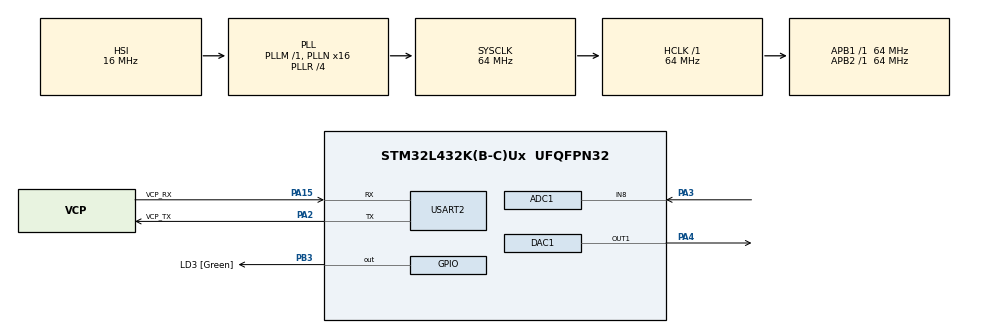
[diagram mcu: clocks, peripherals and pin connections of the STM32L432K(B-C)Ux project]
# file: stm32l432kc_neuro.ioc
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ADC1.Channel-0\#ChannelRegularConversion=ADC_CHANNEL_8
ADC1.ClockPrescaler=ADC_CLOCK_ASYNC_DIV4
ADC1.DMAContinuousRequests=ENABLE
ADC1.ExternalTrigConv=ADC_EXTERNALTRIG_T2_TRGO
ADC1.ExternalTrigConvEdge=ADC_EXTERNALTRIGCONVEDGE_RISINGFALLING
ADC1.NbrOfConversionFlag=1
ADC1.OffsetNumber-0\#ChannelRegularConversion=ADC_OFFSET_NONE
ADC1.Overrun=ADC_OVR_DATA_OVERWRITTEN
ADC1.Rank-0\#ChannelRegularConversion=1
ADC1.SamplingTime-0\#ChannelRegularConversion=ADC_SAMPLETIME_47CYCLES_5
ADC1.master=1
DAC1.DAC_Trigger-DAC_OUT1=DAC_TRIGGER_T2_TRGO
Dma.ADC1.0.Direction=DMA_PERIPH_TO_MEMORY
Dma.ADC1.0.Instance=DMA1_Channel1
Dma.ADC1.0.MemDataAlignment=DMA_MDATAALIGN_HALFWORD
Dma.ADC1.0.MemInc=DMA_MINC_ENABLE
Dma.ADC1.0.Mode=DMA_CIRCULAR
Dma.ADC1.0.PeriphDataAlignment=DMA_PDATAALIGN_HALFWORD
Dma.ADC1.0.PeriphInc=DMA_PINC_DISABLE
Dma.ADC1.0.Priority=DMA_PRIORITY_LOW
Dma.DAC_CH1.2.Direction=DMA_MEMORY_TO_PERIPH
Dma.DAC_CH1.2.Instance=DMA1_Channel3
Dma.DAC_CH1.2.MemDataAlignment=DMA_MDATAALIGN_HALFWORD
Dma.DAC_CH1.2.MemInc=DMA_MINC_ENABLE
Dma.DAC_CH1.2.Mode=DMA_CIRCULAR
Dma.DAC_CH1.2.PeriphDataAlignment=DMA_PDATAALIGN_HALFWORD
Dma.DAC_CH1.2.PeriphInc=DMA_PINC_DISABLE
Dma.DAC_CH1.2.Priority=DMA_PRIORITY_LOW
Dma.Request0=ADC1
Dma.Request1=USART2_TX
Dma.Request2=DAC_CH1
Dma.USART2_TX.1.Direction=DMA_MEMORY_TO_PERIPH
Dma.USART2_TX.1.Instance=DMA1_Channel7
Dma.USART2_TX.1.MemDataAlignment=DMA_MDATAALIGN_BYTE
Dma.USART2_TX.1.MemInc=DMA_MINC_ENABLE
Dma.USART2_TX.1.Mode=DMA_NORMAL
Dma.USART2_TX.1.PeriphDataAlignment=DMA_PDATAALIGN_BYTE
Dma.USART2_TX.1.PeriphInc=DMA_PINC_DISABLE
Dma.USART2_TX.1.Priority=DMA_PRIORITY_LOW
FREERTOS.Queues01=controllerToCom,16,float,0,Dynamic,NULL,NULL
FREERTOS.Tasks01=defaultTask,24,128,StartDefaultTask,Default,NULL,Dynamic,NULL,NULL;comTask,8,512,ComTask,As external,NULL,Dynamic,NULL,NULL;controlTask,40,128,ControlTask,As external,NULL,Dynamic,NULL,NULL
FREERTOS.configENABLE_FPU=1
FREERTOS.configTICK_RATE_HZ=250
FREERTOS.configTOTAL_HEAP_SIZE=5000
Mcu.Family=STM32L4
Mcu.Name=STM32L432K(B-C)Ux
Mcu.Package=UFQFPN32
NVIC.ADC1_IRQn=true\:5\:0\:true\:false\:true\:true\:true\:true\:true
NVIC.DMA1_Channel1_IRQn=true\:5\:0\:true\:false\:true\:true\:false\:true\:true
NVIC.DMA1_Channel3_IRQn=true\:5\:0\:false\:false\:true\:true\:false\:true\:true
NVIC.DMA1_Channel7_IRQn=true\:5\:0\:true\:false\:true\:true\:false\:true\:true
NVIC.PriorityGroup=NVIC_PRIORITYGROUP_4
NVIC.TIM2_IRQn=true\:5\:0\:true\:false\:true\:true\:true\:true\:true
NVIC.TIM7_IRQn=true\:15\:0\:false\:false\:true\:false\:false\:true\:true
NVIC.TimeBase=TIM7_IRQn
NVIC.TimeBaseIP=TIM7
NVIC.USART2_IRQn=true\:8\:0\:true\:false\:true\:true\:true\:true\:true
PA0.GPIO_Label=MCO [High speed clock in]
PA0.Mode=HSE-External-Clock-Source-for-LittleOrca
PA0.Signal=RCC_CK_IN
PA13\ (JTMS-SWDIO).GPIO_Label=SWDIO
PA13\ (JTMS-SWDIO).Mode=Serial_Wire
PA13\ (JTMS-SWDIO).Signal=SYS_JTMS-SWDIO
PA14\ (JTCK-SWCLK).GPIO_Label=SWCLK
PA14\ (JTCK-SWCLK).Mode=Serial_Wire
PA14\ (JTCK-SWCLK).Signal=SYS_JTCK-SWCLK
PA15\ (JTDI).GPIO_Label=VCP_RX
PA15\ (JTDI).Mode=Asynchronous
PA15\ (JTDI).Signal=USART2_RX
PA2.GPIO_Label=VCP_TX
PA2.Mode=Asynchronous
PA2.Signal=USART2_TX
PA3.Signal=ADCx_IN8
PA4.Signal=COMP_DAC11_group
PB3\ (JTDO-TRACESWO).GPIO_Label=LD3 [Green]
PB3\ (JTDO-TRACESWO).Signal=GPIO_Output
PC14-OSC32_IN\ (PC14).Mode=LSE-External-Oscillator
PC14-OSC32_IN\ (PC14).Signal=RCC_OSC32_IN
PC15-OSC32_OUT\ (PC15).Mode=LSE-External-Oscillator
PC15-OSC32_OUT\ (PC15).Signal=RCC_OSC32_OUT
ProjectManager.HeapSize=0x800
ProjectManager.StackSize=0x800
ProjectManager.TargetToolchain=CMake
RCC.ADCFreq_Value=64000000
RCC.AHBFreq_Value=64000000
RCC.APB1Freq_Value=64000000
RCC.APB1TimFreq_Value=64000000
RCC.APB2Freq_Value=64000000
RCC.APB2TimFreq_Value=64000000
RCC.CortexFreq_Value=64000000
RCC.HCLKFreq_Value=64000000
RCC.HSE_VALUE=8000000
RCC.HSI16_VALUE=16000000
RCC.HSI48_VALUE=48000000
RCC.HSI_VALUE=16000000
RCC.MSI_VALUE=4000000
RCC.PLLMUL=RCC_PLLMUL_4
RCC.PLLN=16
RCC.PLLR=RCC_PLLR_DIV4
RCC.PLLSAI1Q=RCC_PLLQ_DIV4
RCC.PLLSourceVirtual=RCC_PLLSOURCE_HSI
RCC.SYSCLKFreq_VALUE=64000000
RCC.SYSCLKSource=RCC_SYSCLKSOURCE_PLLCLK
RCC.USART2CLockSelection=RCC_USART2CLKSOURCE_HSI
RCC.USBFreq_Value=32000000
RCC.VCOOutputFreq_Value=256000000
SH.ADCx_IN8.0=ADC1_IN8,IN8-Single-Ended
SH.COMP_DAC11_group.0=DAC1_OUT1,DAC_OUT1
TIM2.AutoReloadPreload=TIM_AUTORELOAD_PRELOAD_ENABLE
TIM2.Period=999
TIM2.Prescaler=63
TIM2.TIM_MasterOutputTrigger=TIM_TRGO_UPDATE
USART2.VirtualMode-Asynchronous=VM_ASYNC
VP_FREERTOS_VS_CMSIS_V2.Mode=CMSIS_V2
VP_RNG_VS_RNG.Mode=RNG_Activate
VP_SYS_VS_tim7.Mode=TIM7
VP_TIM2_VS_ClockSourceINT.Mode=Internal
board=NUCLEO-L432KC

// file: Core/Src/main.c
/* USER CODE BEGIN Header */
/**
  ******************************************************************************
  * @file           : main.c
  * @brief          : Main program body
  ******************************************************************************
  * @attention
  *
  * Copyright (c) 2026 STMicroelectronics.
  * All rights reserved.
  *
  * This software is licensed under terms that can be found in the LICENSE file
  * in the root directory of this software component.
  * If no LICENSE file comes with this software, it is provided AS-IS.
  *
  ******************************************************************************
  */
/* USER CODE END Header */
#include "main.h"
#include "cmsis_os.h"

/* USER CODE BEGIN Includes */
#include "neuralController.h"
#include "queue.h"
#include "ApplicationTask.h"
#include "pt2.h"
#include "pid.h"
/* USER CODE END Includes */

/* USER CODE BEGIN PD */
#define FLT_DECIMAL_DIG 9
/* USER CODE END PD */

ADC_HandleTypeDef hadc1;
DMA_HandleTypeDef hdma_adc1;

DAC_HandleTypeDef hdac1;
DMA_HandleTypeDef hdma_dac_ch1;

RNG_HandleTypeDef hrng;

TIM_HandleTypeDef htim2;

UART_HandleTypeDef huart2;
DMA_HandleTypeDef hdma_usart2_tx;

/* Definitions for defaultTask */
osThreadId_t defaultTaskHandle;
const osThreadAttr_t defaultTask_attributes = {
  .name = "defaultTask",
  .stack_size = 128 * 4,
  .priority = (osPriority_t) osPriorityNormal,
};
/* Definitions for comTask */
osThreadId_t comTaskHandle;
const osThreadAttr_t comTask_attributes = {
  .name = "comTask",
  .stack_size = 512 * 4,
  .priority = (osPriority_t) osPriorityLow,
};
/* Definitions for controlTask */
osThreadId_t controlTaskHandle;
const osThreadAttr_t controlTask_attributes = {
  .name = "controlTask",
  .stack_size = 128 * 4,
  .priority = (osPriority_t) osPriorityHigh,
};
/* Definitions for controllerToCom */
osMessageQueueId_t controllerToComHandle;
const osMessageQueueAttr_t controllerToCom_attributes = {
  .name = "controllerToCom"
};
/* USER CODE BEGIN PV */
float (*randFctPtr)(float, float);
/* USER CODE END PV */

void SystemClock_Config(void);
void PeriphCommonClock_Config(void);
static void MX_GPIO_Init(void);
static void MX_DMA_Init(void);
static void MX_ADC1_Init(void);
static void MX_RNG_Init(void);
static void MX_USART2_UART_Init(void);
static void MX_DAC1_Init(void);
static void MX_TIM2_Init(void);
void StartDefaultTask(void *argument);
extern void ComTask(void *argument);
extern void ControlTask(void *argument);

int main(void)
{

  /* MCU Configuration--------------------------------------------------------*/

  /* Reset of all peripherals, Initializes the Flash interface and the Systick. */
  HAL_Init();

  /* Configure the system clock */
  SystemClock_Config();

  /* Configure the peripherals common clocks */
  PeriphCommonClock_Config();

  /* Initialize all configured peripherals */
  MX_GPIO_Init();
  MX_DMA_Init();
  MX_ADC1_Init();
  MX_RNG_Init();
  MX_USART2_UART_Init();
  MX_DAC1_Init();
  MX_TIM2_Init();
  /* USER CODE BEGIN 2 */
  randFctPtr = &generateGaussFloat;
  input = (float*)calloc(ncConfig.inputs, sizeof(float));
  ncConfig.hidden_layers = 1;
  ncConfig.layers = ncConfig.hidden_layers + 2;
  ncConfig.neurons = 16;
  ncConfig.output_layer_neurons = 1;
  ncConfig.inputs = 2;
  ncConfig.setpoint = 0.5;
  ncConfig.learning_rate = 0.01;
  ncConfig.isJordan = true;
  ncConfig.activation_hidden = ACTIVATION_TANH;
  ncConfig.activation_output = ACTIVATION_LINEAR;

  if(neuralController_Init(&ncConfig, &control, randFctPtr, &weight, &neuron) != 0){
    Error_Handler();
  }
  PID_Init(&pid,
          2.0f,   /* Kp */
          2.0f,   /* Ki */
          0.5f,   /* Kd */
          0.001f, /* Ts: 1 kHz */
          0.0f,   /* minimum output */
          3.3f);  /* maximum output */
  CoreDebug->DEMCR |= CoreDebug_DEMCR_TRCENA_Msk;
  DWT->CYCCNT = 0;
  DWT->CTRL |= DWT_CTRL_CYCCNTENA_Msk;
  /* USER CODE END 2 */

  /* Init scheduler */
  osKernelInitialize();

  /* Create the queue(s) */
  /* creation of controllerToCom */
  controllerToComHandle = osMessageQueueNew (16, sizeof(float), &controllerToCom_attributes);

  /* Create the thread(s) */
  /* creation of defaultTask */
  defaultTaskHandle = osThreadNew(StartDefaultTask, NULL, &defaultTask_attributes);

  /* creation of comTask */
  comTaskHandle = osThreadNew(ComTask, NULL, &comTask_attributes);

  /* creation of controlTask */
  controlTaskHandle = osThreadNew(ControlTask, NULL, &controlTask_attributes);

  /* USER CODE BEGIN RTOS_EVENTS */
  if (HAL_ADCEx_Calibration_Start(&hadc1, ADC_SINGLE_ENDED) != HAL_OK) {
      Error_Handler();
  }
  HAL_ADC_Start_DMA(&hadc1, (uint32_t*)adc_buffer, ADC_BUF_LEN);
  HAL_DAC_Start_DMA(&hdac1, DAC_CHANNEL_1, (uint32_t *)&dac_value, 1, DAC_ALIGN_12B_R);
  HAL_TIM_Base_Start(&htim2);
  /* USER CODE END RTOS_EVENTS */

  /* Start scheduler */
  osKernelStart();

  /* We should never get here as control is now taken by the scheduler */

  /* Infinite loop */
  while (1)
  {

  }
}

void SystemClock_Config(void)
{
  RCC_OscInitTypeDef RCC_OscInitStruct = {0};
  RCC_ClkInitTypeDef RCC_ClkInitStruct = {0};

  /** Configure the main internal regulator output voltage
  */
  if (HAL_PWREx_ControlVoltageScaling(PWR_REGULATOR_VOLTAGE_SCALE1) != HAL_OK)
  {
    Error_Handler();
  }

  /** Initializes the RCC Oscillators according to the specified parameters
  * in the RCC_OscInitTypeDef structure.
  */
  RCC_OscInitStruct.OscillatorType = RCC_OSCILLATORTYPE_HSI;
  RCC_OscInitStruct.HSIState = RCC_HSI_ON;
  RCC_OscInitStruct.HSICalibrationValue = RCC_HSICALIBRATION_DEFAULT;
  RCC_OscInitStruct.PLL.PLLState = RCC_PLL_ON;
  RCC_OscInitStruct.PLL.PLLSource = RCC_PLLSOURCE_HSI;
  RCC_OscInitStruct.PLL.PLLM = 1;
  RCC_OscInitStruct.PLL.PLLN = 16;
  RCC_OscInitStruct.PLL.PLLP = RCC_PLLP_DIV7;
  RCC_OscInitStruct.PLL.PLLQ = RCC_PLLQ_DIV2;
  RCC_OscInitStruct.PLL.PLLR = RCC_PLLR_DIV4;
  if (HAL_RCC_OscConfig(&RCC_OscInitStruct) != HAL_OK)
  {
    Error_Handler();
  }

  /** Initializes the CPU, AHB and APB buses clocks
  */
  RCC_ClkInitStruct.ClockType = RCC_CLOCKTYPE_HCLK|RCC_CLOCKTYPE_SYSCLK
                              |RCC_CLOCKTYPE_PCLK1|RCC_CLOCKTYPE_PCLK2;
  RCC_ClkInitStruct.SYSCLKSource = RCC_SYSCLKSOURCE_PLLCLK;
  RCC_ClkInitStruct.AHBCLKDivider = RCC_SYSCLK_DIV1;
  RCC_ClkInitStruct.APB1CLKDivider = RCC_HCLK_DIV1;
  RCC_ClkInitStruct.APB2CLKDivider = RCC_HCLK_DIV1;

  if (HAL_RCC_ClockConfig(&RCC_ClkInitStruct, FLASH_LATENCY_3) != HAL_OK)
  {
    Error_Handler();
  }
}

void PeriphCommonClock_Config(void)
{
  RCC_PeriphCLKInitTypeDef PeriphClkInit = {0};

  /** Initializes the peripherals clock
  */
  PeriphClkInit.PeriphClockSelection = RCC_PERIPHCLK_RNG|RCC_PERIPHCLK_ADC;
  PeriphClkInit.AdcClockSelection = RCC_ADCCLKSOURCE_PLLSAI1;
  PeriphClkInit.RngClockSelection = RCC_RNGCLKSOURCE_PLLSAI1;
  PeriphClkInit.PLLSAI1.PLLSAI1Source = RCC_PLLSOURCE_HSI;
  PeriphClkInit.PLLSAI1.PLLSAI1M = 1;
  PeriphClkInit.PLLSAI1.PLLSAI1N = 8;
  PeriphClkInit.PLLSAI1.PLLSAI1P = RCC_PLLP_DIV7;
  PeriphClkInit.PLLSAI1.PLLSAI1Q = RCC_PLLQ_DIV4;
  PeriphClkInit.PLLSAI1.PLLSAI1R = RCC_PLLR_DIV2;
  PeriphClkInit.PLLSAI1.PLLSAI1ClockOut = RCC_PLLSAI1_48M2CLK|RCC_PLLSAI1_ADC1CLK;
  if (HAL_RCCEx_PeriphCLKConfig(&PeriphClkInit) != HAL_OK)
  {
    Error_Handler();
  }
}

static void MX_ADC1_Init(void)
{

  ADC_ChannelConfTypeDef sConfig = {0};

  /** Common config
  */
  hadc1.Instance = ADC1;
  hadc1.Init.ClockPrescaler = ADC_CLOCK_ASYNC_DIV4;
  hadc1.Init.Resolution = ADC_RESOLUTION_12B;
  hadc1.Init.DataAlign = ADC_DATAALIGN_RIGHT;
  hadc1.Init.ScanConvMode = ADC_SCAN_DISABLE;
  hadc1.Init.EOCSelection = ADC_EOC_SINGLE_CONV;
  hadc1.Init.LowPowerAutoWait = DISABLE;
  hadc1.Init.ContinuousConvMode = DISABLE;
  hadc1.Init.NbrOfConversion = 1;
  hadc1.Init.DiscontinuousConvMode = DISABLE;
  hadc1.Init.ExternalTrigConv = ADC_EXTERNALTRIG_T2_TRGO;
  hadc1.Init.ExternalTrigConvEdge = ADC_EXTERNALTRIGCONVEDGE_RISINGFALLING;
  hadc1.Init.DMAContinuousRequests = ENABLE;
  hadc1.Init.Overrun = ADC_OVR_DATA_OVERWRITTEN;
  hadc1.Init.OversamplingMode = DISABLE;
  if (HAL_ADC_Init(&hadc1) != HAL_OK)
  {
    Error_Handler();
  }

  /** Configure Regular Channel
  */
  sConfig.Channel = ADC_CHANNEL_8;
  sConfig.Rank = ADC_REGULAR_RANK_1;
  sConfig.SamplingTime = ADC_SAMPLETIME_47CYCLES_5;
  sConfig.SingleDiff = ADC_SINGLE_ENDED;
  sConfig.OffsetNumber = ADC_OFFSET_NONE;
  sConfig.Offset = 0;
  if (HAL_ADC_ConfigChannel(&hadc1, &sConfig) != HAL_OK)
  {
    Error_Handler();
  }

}

static void MX_DAC1_Init(void)
{

  DAC_ChannelConfTypeDef sConfig = {0};

  /** DAC Initialization
  */
  hdac1.Instance = DAC1;
  if (HAL_DAC_Init(&hdac1) != HAL_OK)
  {
    Error_Handler();
  }

  /** DAC channel OUT1 config
  */
  sConfig.DAC_SampleAndHold = DAC_SAMPLEANDHOLD_DISABLE;
  sConfig.DAC_Trigger = DAC_TRIGGER_T2_TRGO;
  sConfig.DAC_OutputBuffer = DAC_OUTPUTBUFFER_ENABLE;
  sConfig.DAC_ConnectOnChipPeripheral = DAC_CHIPCONNECT_DISABLE;
  sConfig.DAC_UserTrimming = DAC_TRIMMING_FACTORY;
  if (HAL_DAC_ConfigChannel(&hdac1, &sConfig, DAC_CHANNEL_1) != HAL_OK)
  {
    Error_Handler();
  }

}

static void MX_RNG_Init(void)
{

  hrng.Instance = RNG;
  if (HAL_RNG_Init(&hrng) != HAL_OK)
  {
    Error_Handler();
  }

}

static void MX_TIM2_Init(void)
{

  TIM_ClockConfigTypeDef sClockSourceConfig = {0};
  TIM_MasterConfigTypeDef sMasterConfig = {0};

  htim2.Instance = TIM2;
  htim2.Init.Prescaler = 63;
  htim2.Init.CounterMode = TIM_COUNTERMODE_UP;
  htim2.Init.Period = 999;
  htim2.Init.ClockDivision = TIM_CLOCKDIVISION_DIV1;
  htim2.Init.AutoReloadPreload = TIM_AUTORELOAD_PRELOAD_ENABLE;
  if (HAL_TIM_Base_Init(&htim2) != HAL_OK)
  {
    Error_Handler();
  }
  sClockSourceConfig.ClockSource = TIM_CLOCKSOURCE_INTERNAL;
  if (HAL_TIM_ConfigClockSource(&htim2, &sClockSourceConfig) != HAL_OK)
  {
    Error_Handler();
  }
  sMasterConfig.MasterOutputTrigger = TIM_TRGO_UPDATE;
  sMasterConfig.MasterSlaveMode = TIM_MASTERSLAVEMODE_DISABLE;
  if (HAL_TIMEx_MasterConfigSynchronization(&htim2, &sMasterConfig) != HAL_OK)
  {
    Error_Handler();
  }

}

static void MX_USART2_UART_Init(void)
{

  huart2.Instance = USART2;
  huart2.Init.BaudRate = 115200;
  huart2.Init.WordLength = UART_WORDLENGTH_8B;
  huart2.Init.StopBits = UART_STOPBITS_1;
  huart2.Init.Parity = UART_PARITY_NONE;
  huart2.Init.Mode = UART_MODE_TX_RX;
  huart2.Init.HwFlowCtl = UART_HWCONTROL_NONE;
  huart2.Init.OverSampling = UART_OVERSAMPLING_16;
  huart2.Init.OneBitSampling = UART_ONE_BIT_SAMPLE_DISABLE;
  huart2.AdvancedInit.AdvFeatureInit = UART_ADVFEATURE_NO_INIT;
  if (HAL_UART_Init(&huart2) != HAL_OK)
  {
    Error_Handler();
  }

}

static void MX_DMA_Init(void)
{

  /* DMA controller clock enable */
  __HAL_RCC_DMA1_CLK_ENABLE();

  /* DMA interrupt init */
  /* DMA1_Channel1_IRQn interrupt configuration */
  HAL_NVIC_SetPriority(DMA1_Channel1_IRQn, 5, 0);
  HAL_NVIC_EnableIRQ(DMA1_Channel1_IRQn);
  /* DMA1_Channel3_IRQn interrupt configuration */
  HAL_NVIC_SetPriority(DMA1_Channel3_IRQn, 5, 0);
  HAL_NVIC_EnableIRQ(DMA1_Channel3_IRQn);
  /* DMA1_Channel7_IRQn interrupt configuration */
  HAL_NVIC_SetPriority(DMA1_Channel7_IRQn, 5, 0);
  HAL_NVIC_EnableIRQ(DMA1_Channel7_IRQn);

}

static void MX_GPIO_Init(void)
{
  GPIO_InitTypeDef GPIO_InitStruct = {0};

  /* GPIO Ports Clock Enable */
  __HAL_RCC_GPIOC_CLK_ENABLE();
  __HAL_RCC_GPIOA_CLK_ENABLE();
  __HAL_RCC_GPIOB_CLK_ENABLE();

  /*Configure GPIO pin Output Level */
  HAL_GPIO_WritePin(LD3_GPIO_Port, LD3_Pin, GPIO_PIN_RESET);

  /*Configure GPIO pin : LD3_Pin */
  GPIO_InitStruct.Pin = LD3_Pin;
  GPIO_InitStruct.Mode = GPIO_MODE_OUTPUT_PP;
  GPIO_InitStruct.Pull = GPIO_NOPULL;
  GPIO_InitStruct.Speed = GPIO_SPEED_FREQ_LOW;
  HAL_GPIO_Init(LD3_GPIO_Port, &GPIO_InitStruct);

}

void StartDefaultTask(void *argument)
{
  /* USER CODE BEGIN 5 */
  (void)argument;
  /* Infinite loop */
  for(;;)
  {
    osDelay(10);
  }
  /* USER CODE END 5 */
}

void HAL_TIM_PeriodElapsedCallback(TIM_HandleTypeDef *htim)
{
  if (htim->Instance == TIM7)
  {
    HAL_IncTick();
  }
}

void Error_Handler(void)
{
  __disable_irq();
  while (1)
  {
  }
}
